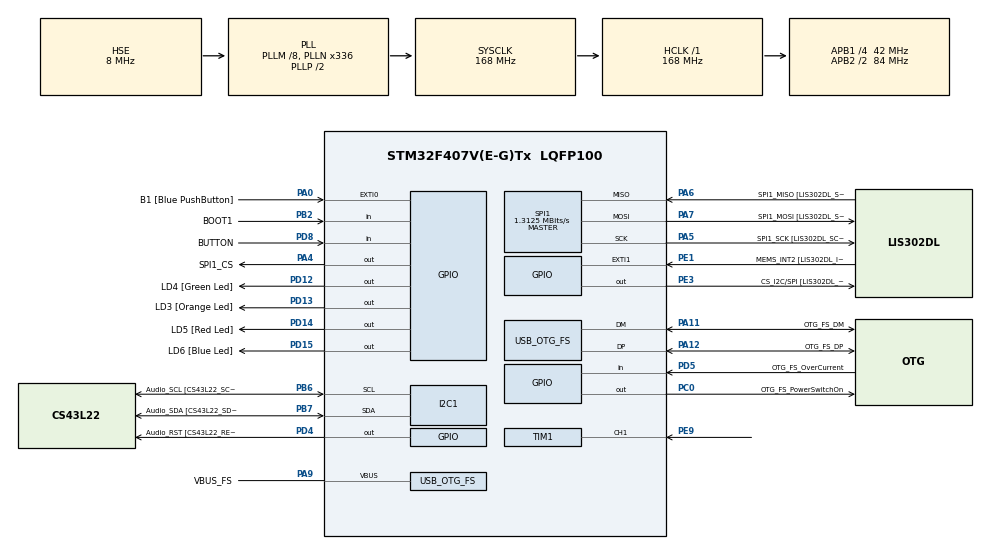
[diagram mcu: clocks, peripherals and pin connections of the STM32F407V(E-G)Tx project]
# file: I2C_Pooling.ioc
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Mcu.Family=STM32F4
Mcu.Name=STM32F407V(E-G)Tx
Mcu.Package=LQFP100
NVIC.OTG_FS_IRQn=true\:0\:0\:false\:false\:true\:true\:true\:true
NVIC.PriorityGroup=NVIC_PRIORITYGROUP_0
PA0-WKUP.GPIO_Label=B1 [Blue PushButton]
PA0-WKUP.GPIO_ModeDefaultEXTI=GPIO_MODE_EVT_RISING
PA0-WKUP.GPIO_PuPd=GPIO_NOPULL
PA0-WKUP.Signal=GPXTI0
PA10.GPIO_Label=OTG_FS_ID
PA10.GPIO_Mode=GPIO_MODE_AF_PP
PA10.GPIO_PuPd=GPIO_NOPULL
PA10.GPIO_Speed=GPIO_SPEED_FREQ_LOW
PA10.Signal=USB_OTG_FS_ID
PA11.GPIO_Label=OTG_FS_DM
PA11.GPIO_Mode=GPIO_MODE_AF_PP
PA11.GPIO_PuPd=GPIO_NOPULL
PA11.GPIO_Speed=GPIO_SPEED_FREQ_LOW
PA11.Mode=Host_Only
PA11.Signal=USB_OTG_FS_DM
PA12.GPIO_Label=OTG_FS_DP
PA12.GPIO_Mode=GPIO_MODE_AF_PP
PA12.GPIO_PuPd=GPIO_NOPULL
PA12.GPIO_Speed=GPIO_SPEED_FREQ_LOW
PA12.Mode=Host_Only
PA12.Signal=USB_OTG_FS_DP
PA13.GPIO_Label=SWDIO
PA13.Mode=Serial_Wire
PA13.Signal=SYS_JTMS-SWDIO
PA14.GPIO_Label=SWCLK
PA14.Mode=Serial_Wire
PA14.Signal=SYS_JTCK-SWCLK
PA4.GPIO_Label=SPI1_CS
PA4.Signal=GPIO_Output
PA5.GPIO_Label=SPI1_SCK [LIS302DL_SCL/SPC]
PA5.GPIO_Mode=GPIO_MODE_AF_PP
PA5.GPIO_PuPd=GPIO_NOPULL
PA5.GPIO_Speed=GPIO_SPEED_FREQ_LOW
PA5.Mode=Full_Duplex_Master
PA5.Signal=SPI1_SCK
PA6.GPIO_Label=SPI1_MISO [LIS302DL_SDO]
PA6.GPIO_Mode=GPIO_MODE_AF_PP
PA6.GPIO_PuPd=GPIO_NOPULL
PA6.GPIO_Speed=GPIO_SPEED_FREQ_LOW
PA6.Mode=Full_Duplex_Master
PA6.Signal=SPI1_MISO
PA7.GPIO_Label=SPI1_MOSI [LIS302DL_SDA/SDI/SDO]
PA7.GPIO_Mode=GPIO_MODE_AF_PP
PA7.GPIO_PuPd=GPIO_NOPULL
PA7.GPIO_Speed=GPIO_SPEED_FREQ_LOW
PA7.Mode=Full_Duplex_Master
PA7.Signal=SPI1_MOSI
PA9.GPIO_Label=VBUS_FS
PA9.GPIO_Mode=GPIO_MODE_INPUT
PA9.GPIO_PuPd=GPIO_NOPULL
PA9.Mode=Activate_VBUS
PA9.Signal=USB_OTG_FS_VBUS
PB10.GPIO_Label=CLK_IN [MP45DT02_CLK]
PB10.GPIO_Mode=GPIO_MODE_AF_PP
PB10.GPIO_PuPd=GPIO_NOPULL
PB10.GPIO_Speed=GPIO_SPEED_FREQ_LOW
PB10.Signal=I2S2_CK
PB2.GPIO_Label=BOOT1
PB2.GPIO_Mode=GPIO_MODE_INPUT
PB2.GPIO_PuPd=GPIO_NOPULL
PB2.Signal=GPIO_Input
PB3.GPIO_Label=SWO
PB3.Signal=SYS_JTDO-SWO
PB6.GPIO_Label=Audio_SCL [CS43L22_SCL]
PB6.GPIO_Mode=GPIO_MODE_AF_OD
PB6.GPIO_Pu=GPIO_PULLUP
PB6.GPIO_PuPd=GPIO_NOPULL
PB6.GPIO_Speed=GPIO_SPEED_FREQ_LOW
PB6.Mode=I2C
PB6.Signal=I2C1_SCL
PB7.GPIO_Label=Audio_SDA [CS43L22_SDA]
PB7.GPIO_Mode=GPIO_MODE_AF_OD
PB7.GPIO_Pu=GPIO_PULLUP
PB7.GPIO_Speed=GPIO_SPEED_FREQ_LOW
PB7.Mode=I2C
PB7.Signal=I2C1_SDA
PC0.GPIO_Label=OTG_FS_PowerSwitchOn
PC0.GPIO_PuPd=GPIO_NOPULL
PC0.GPIO_Speed=GPIO_SPEED_FREQ_LOW
PC0.PinState=GPIO_PIN_SET
PC0.Signal=GPIO_Output
PC10.GPIO_Label=I2S3_SCK [CS43L22_SCLK]
PC10.GPIO_Mode=GPIO_MODE_AF_PP
PC10.GPIO_PuPd=GPIO_NOPULL
PC10.GPIO_Speed=GPIO_SPEED_FREQ_LOW
PC10.Signal=I2S3_CK
PC12.GPIO_Label=I2S3_SD [CS43L22_SDIN]
PC12.GPIO_Mode=GPIO_MODE_AF_PP
PC12.GPIO_PuPd=GPIO_NOPULL
PC12.GPIO_Speed=GPIO_SPEED_FREQ_LOW
PC12.Signal=I2S3_SD
PC14-OSC32_IN.GPIO_Label=PC14-OSC32_IN
PC14-OSC32_IN.Mode=LSE-External-Oscillator
PC14-OSC32_IN.Signal=RCC_OSC32_IN
PC15-OSC32_OUT.GPIO_Label=PC15-OSC32_OUT
PC15-OSC32_OUT.Mode=LSE-External-Oscillator
PC15-OSC32_OUT.Signal=RCC_OSC32_OUT
PC3.GPIO_Label=PDM_OUT [MP45DT02_DOUT]
PC3.GPIO_Mode=GPIO_MODE_AF_PP
PC3.GPIO_PuPd=GPIO_NOPULL
PC3.GPIO_Speed=GPIO_SPEED_FREQ_LOW
PC3.Signal=I2S2_SD
PC7.GPIO_Label=I2S3_MCK [CS43L22_MCLK]
PC7.GPIO_Mode=GPIO_MODE_AF_PP
PC7.GPIO_PuPd=GPIO_NOPULL
PC7.GPIO_Speed=GPIO_SPEED_FREQ_LOW
PC7.Signal=I2S3_MCK
PD12.GPIO_Label=LD4 [Green Led]
PD12.GPIO_PuPd=GPIO_NOPULL
PD12.GPIO_Speed=GPIO_SPEED_FREQ_LOW
PD12.Signal=GPIO_Output
PD13.GPIO_Label=LD3 [Orange Led]
PD13.GPIO_PuPd=GPIO_NOPULL
PD13.GPIO_Speed=GPIO_SPEED_FREQ_LOW
PD13.Signal=GPIO_Output
PD14.GPIO_Label=LD5 [Red Led]
PD14.GPIO_PuPd=GPIO_NOPULL
PD14.GPIO_Speed=GPIO_SPEED_FREQ_LOW
PD14.Signal=GPIO_Output
PD15.GPIO_Label=LD6 [Blue Led]
PD15.GPIO_PuPd=GPIO_NOPULL
PD15.GPIO_Speed=GPIO_SPEED_FREQ_LOW
PD15.Signal=GPIO_Output
PD4.GPIO_Label=Audio_RST [CS43L22_RESET]
PD4.GPIO_PuPd=GPIO_NOPULL
PD4.GPIO_Speed=GPIO_SPEED_FREQ_LOW
PD4.Signal=GPIO_Output
PD5.GPIO_Label=OTG_FS_OverCurrent
PD5.GPIO_Mode=GPIO_MODE_INPUT
PD5.GPIO_PuPd=GPIO_NOPULL
PD5.Signal=GPIO_Input
PD8.GPIO_Label=BUTTON
PD8.GPIO_PuPd=GPIO_PULLDOWN
PD8.Signal=GPIO_Input
PE1.GPIO_Label=MEMS_INT2 [LIS302DL_INT2]
PE1.GPIO_ModeDefaultEXTI=GPIO_MODE_EVT_RISING
PE1.GPIO_PuPd=GPIO_NOPULL
PE1.Signal=GPXTI1
PE3.GPIO_Label=CS_I2C/SPI [LIS302DL_CS_I2C/SPI]
PE3.GPIO_PuPd=GPIO_NOPULL
PE3.GPIO_Speed=GPIO_SPEED_FREQ_LOW
PE3.Signal=GPIO_Output
PE9.Signal=S_TIM1_CH1
PH0-OSC_IN.GPIO_Label=PH0-OSC_IN
PH0-OSC_IN.Mode=HSE-External-Oscillator
PH0-OSC_IN.Signal=RCC_OSC_IN
PH1-OSC_OUT.GPIO_Label=PH1-OSC_OUT
PH1-OSC_OUT.Mode=HSE-External-Oscillator
PH1-OSC_OUT.Signal=RCC_OSC_OUT
ProjectManager.HeapSize=0x200
ProjectManager.StackSize=0x400
ProjectManager.TargetToolchain=STM32CubeIDE
RCC.48MHZClocksFreq_Value=48000000
RCC.AHBFreq_Value=168000000
RCC.APB1CLKDivider=RCC_HCLK_DIV4
RCC.APB1Freq_Value=42000000
RCC.APB1TimFreq_Value=84000000
RCC.APB2CLKDivider=RCC_HCLK_DIV2
RCC.APB2Freq_Value=84000000
RCC.APB2TimFreq_Value=168000000
RCC.CortexFreq_Value=168000000
RCC.HCLKFreq_Value=168000000
RCC.HSE_VALUE=8000000
RCC.HSI_VALUE=16000000
RCC.PLLM=8
RCC.PLLN=336
RCC.PLLQ=7
RCC.SYSCLKFreq_VALUE=168000000
RCC.SYSCLKSource=RCC_SYSCLKSOURCE_PLLCLK
RCC.VCOOutputFreq_Value=336000000
SH.S_TIM1_CH1.0=TIM1_CH1,Input_Capture1_from_TI1
SPI1.BaudRatePrescaler=SPI_BAUDRATEPRESCALER_64
SPI1.BaudRatePrescaler-Full_Duplex_Master=SPI_BAUDRATEPRESCALER_2
SPI1.CalculateBaudRate=1.3125 MBits/s
SPI1.CalculateBaudRate-Full_Duplex_Master=42.0 MBits/s
SPI1.Direction=SPI_DIRECTION_2LINES
SPI1.Mode=SPI_MODE_MASTER
SPI1.Mode-Full_Duplex_Master=SPI_MODE_MASTER
SPI1.VirtualType=VM_MASTER
TIM1.Channel-Input_Capture1_from_TI1=TIM_CHANNEL_1
USB_HOST.BSP.number=1
USB_HOST.USBH_HandleTypeDef-CDC_FS=hUsbHostFS
USB_HOST.VirtualModeFS=Cdc
USB_HOST0.BSP.STBoard=false
USB_HOST0.BSP.api=Unknown
USB_HOST0.BSP.instance=PC0
USB_HOST0.BSP.ip=GPIO
USB_HOST0.BSP.mode=Output
USB_HOST0.BSP.name=Drive_VBUS_FS
USB_HOST0.BSP.solution=PC0
USB_OTG_FS.VirtualMode=Host_Only
USB_OTG_FS.phy_itface=HCD_PHY_EMBEDDED
VP_USB_HOST_VS_USB_HOST_CDC_FS.Mode=CDC_FS
board=STM32F407G-DISC1

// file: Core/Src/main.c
/* USER CODE BEGIN Header */
/**
  ******************************************************************************
  * @file           : main.c
  * @brief          : Main program body
  ******************************************************************************
  * @attention
  *
  * Copyright (c) 2025 STMicroelectronics.
  * All rights reserved.
  *
  * This software is licensed under terms that can be found in the LICENSE file
  * in the root directory of this software component.
  * If no LICENSE file comes with this software, it is provided AS-IS.
  *
  ******************************************************************************
  */
/* USER CODE END Header */
#include "main.h"
#include "usb_host.h"

/* USER CODE BEGIN Includes */
#include "DS3231.h"
#include "MAX7219.h"
/* USER CODE END Includes */

I2C_HandleTypeDef hi2c1;

SPI_HandleTypeDef hspi1;

TIM_HandleTypeDef htim1;

/* USER CODE BEGIN PV */
DS3231_Time_t currentTime;
uint8_t gCounter;

/* USER CODE END PV */

void SystemClock_Config(void);
static void MX_GPIO_Init(void);
static void MX_I2C1_Init(void);
static void MX_SPI1_Init(void);
static void MX_TIM1_Init(void);
void MX_USB_HOST_Process(void);

int main(void)
{

  /* MCU Configuration--------------------------------------------------------*/

  /* Reset of all peripherals, Initializes the Flash interface and the Systick. */
  HAL_Init();

  /* Configure the system clock */
  SystemClock_Config();

  /* Initialize all configured peripherals */
  MX_GPIO_Init();
  MX_I2C1_Init();
  MX_SPI1_Init();
  MX_USB_HOST_Init();
  MX_TIM1_Init();
  /* USER CODE BEGIN 2 */
  HAL_GPIO_WritePin(GPIOD, GPIO_PIN_12, GPIO_PIN_RESET);
  HAL_GPIO_WritePin(GPIOD, GPIO_PIN_14, GPIO_PIN_RESET);

  if(HAL_I2C_IsDeviceReady(&hi2c1, DS3231_ADDR_HAL, 3, 1000) == HAL_OK) {
	  HAL_GPIO_TogglePin(GPIOD, GPIO_PIN_12);
  } else {
	  HAL_GPIO_TogglePin(GPIOD, GPIO_PIN_14);
  }
  /*
  currentTime.seconds = 0;
  currentTime.minutes = 7;
  currentTime.hours = 11;
  currentTime.month = 05;
  currentTime.date = 20;
  currentTime.year = 25;

  writeBCDRegister(&hi2c1, DS3231_SECONDS, currentTime.seconds);
  writeBCDRegister(&hi2c1, DS3231_MINUTES, currentTime.minutes);
  writeBCDRegister(&hi2c1, DS3231_HOURS, currentTime.hours);
  writeBCDRegister(&hi2c1, DS3231_CEN_MONTH, currentTime.month);
  writeBCDRegister(&hi2c1, DS3231_DATE, currentTime.date);
  writeBCDRegister(&hi2c1, DS3231_DEC_YEAR, currentTime.year);
  */

  spiWriteRegister(&hspi1, SPI1_CS_GPIO_Port, SPI1_CS_Pin, DISPLAY_TEST, 0x01);
  HAL_Delay(1000);
  spiWriteRegister(&hspi1, SPI1_CS_GPIO_Port, SPI1_CS_Pin, DISPLAY_TEST, 0x00);

  spiWriteRegister(&hspi1, SPI1_CS_GPIO_Port, SPI1_CS_Pin, DECODE_MODE, 0x00);
  spiWriteRegister(&hspi1, SPI1_CS_GPIO_Port, SPI1_CS_Pin, INTENSITY, 0x01);
  spiWriteRegister(&hspi1, SPI1_CS_GPIO_Port, SPI1_CS_Pin, SCAN_LIMIT, 0x0F);
  spiWriteRegister(&hspi1, SPI1_CS_GPIO_Port, SPI1_CS_Pin, SHUTDOWN, 0x01);

  /* USER CODE END 2 */

  /* Infinite loop */
  /* USER CODE BEGIN WHILE */
  while (1)
  {
	currentTime.seconds = readBCDRegister(&hi2c1, DS3231_SECONDS);

	for(int i = 1; i < 9; i++) {
		spiWriteRegister(&hspi1, SPI1_CS_GPIO_Port, SPI1_CS_Pin, i, NUMBERS[currentTime.seconds][i-1]);
	}

	HAL_Delay(100);
    /* USER CODE END WHILE */
    MX_USB_HOST_Process();

  }
}

void SystemClock_Config(void)
{
  RCC_OscInitTypeDef RCC_OscInitStruct = {0};
  RCC_ClkInitTypeDef RCC_ClkInitStruct = {0};

  /** Configure the main internal regulator output voltage
  */
  __HAL_RCC_PWR_CLK_ENABLE();
  __HAL_PWR_VOLTAGESCALING_CONFIG(PWR_REGULATOR_VOLTAGE_SCALE1);

  /** Initializes the RCC Oscillators according to the specified parameters
  * in the RCC_OscInitTypeDef structure.
  */
  RCC_OscInitStruct.OscillatorType = RCC_OSCILLATORTYPE_HSE;
  RCC_OscInitStruct.HSEState = RCC_HSE_ON;
  RCC_OscInitStruct.PLL.PLLState = RCC_PLL_ON;
  RCC_OscInitStruct.PLL.PLLSource = RCC_PLLSOURCE_HSE;
  RCC_OscInitStruct.PLL.PLLM = 8;
  RCC_OscInitStruct.PLL.PLLN = 336;
  RCC_OscInitStruct.PLL.PLLP = RCC_PLLP_DIV2;
  RCC_OscInitStruct.PLL.PLLQ = 7;
  if (HAL_RCC_OscConfig(&RCC_OscInitStruct) != HAL_OK)
  {
    Error_Handler();
  }

  /** Initializes the CPU, AHB and APB buses clocks
  */
  RCC_ClkInitStruct.ClockType = RCC_CLOCKTYPE_HCLK|RCC_CLOCKTYPE_SYSCLK
                              |RCC_CLOCKTYPE_PCLK1|RCC_CLOCKTYPE_PCLK2;
  RCC_ClkInitStruct.SYSCLKSource = RCC_SYSCLKSOURCE_PLLCLK;
  RCC_ClkInitStruct.AHBCLKDivider = RCC_SYSCLK_DIV1;
  RCC_ClkInitStruct.APB1CLKDivider = RCC_HCLK_DIV4;
  RCC_ClkInitStruct.APB2CLKDivider = RCC_HCLK_DIV2;

  if (HAL_RCC_ClockConfig(&RCC_ClkInitStruct, FLASH_LATENCY_5) != HAL_OK)
  {
    Error_Handler();
  }
}

static void MX_I2C1_Init(void)
{

  hi2c1.Instance = I2C1;
  hi2c1.Init.ClockSpeed = 100000;
  hi2c1.Init.DutyCycle = I2C_DUTYCYCLE_2;
  hi2c1.Init.OwnAddress1 = 0;
  hi2c1.Init.AddressingMode = I2C_ADDRESSINGMODE_7BIT;
  hi2c1.Init.DualAddressMode = I2C_DUALADDRESS_DISABLE;
  hi2c1.Init.OwnAddress2 = 0;
  hi2c1.Init.GeneralCallMode = I2C_GENERALCALL_DISABLE;
  hi2c1.Init.NoStretchMode = I2C_NOSTRETCH_DISABLE;
  if (HAL_I2C_Init(&hi2c1) != HAL_OK)
  {
    Error_Handler();
  }

}

static void MX_SPI1_Init(void)
{

  /* SPI1 parameter configuration*/
  hspi1.Instance = SPI1;
  hspi1.Init.Mode = SPI_MODE_MASTER;
  hspi1.Init.Direction = SPI_DIRECTION_2LINES;
  hspi1.Init.DataSize = SPI_DATASIZE_8BIT;
  hspi1.Init.CLKPolarity = SPI_POLARITY_LOW;
  hspi1.Init.CLKPhase = SPI_PHASE_1EDGE;
  hspi1.Init.NSS = SPI_NSS_SOFT;
  hspi1.Init.BaudRatePrescaler = SPI_BAUDRATEPRESCALER_64;
  hspi1.Init.FirstBit = SPI_FIRSTBIT_MSB;
  hspi1.Init.TIMode = SPI_TIMODE_DISABLE;
  hspi1.Init.CRCCalculation = SPI_CRCCALCULATION_DISABLE;
  hspi1.Init.CRCPolynomial = 10;
  if (HAL_SPI_Init(&hspi1) != HAL_OK)
  {
    Error_Handler();
  }

}

static void MX_TIM1_Init(void)
{

  TIM_MasterConfigTypeDef sMasterConfig = {0};
  TIM_IC_InitTypeDef sConfigIC = {0};

  htim1.Instance = TIM1;
  htim1.Init.Prescaler = 0;
  htim1.Init.CounterMode = TIM_COUNTERMODE_UP;
  htim1.Init.Period = 65535;
  htim1.Init.ClockDivision = TIM_CLOCKDIVISION_DIV1;
  htim1.Init.RepetitionCounter = 0;
  htim1.Init.AutoReloadPreload = TIM_AUTORELOAD_PRELOAD_DISABLE;
  if (HAL_TIM_IC_Init(&htim1) != HAL_OK)
  {
    Error_Handler();
  }
  sMasterConfig.MasterOutputTrigger = TIM_TRGO_RESET;
  sMasterConfig.MasterSlaveMode = TIM_MASTERSLAVEMODE_DISABLE;
  if (HAL_TIMEx_MasterConfigSynchronization(&htim1, &sMasterConfig) != HAL_OK)
  {
    Error_Handler();
  }
  sConfigIC.ICPolarity = TIM_INPUTCHANNELPOLARITY_RISING;
  sConfigIC.ICSelection = TIM_ICSELECTION_DIRECTTI;
  sConfigIC.ICPrescaler = TIM_ICPSC_DIV1;
  sConfigIC.ICFilter = 0;
  if (HAL_TIM_IC_ConfigChannel(&htim1, &sConfigIC, TIM_CHANNEL_1) != HAL_OK)
  {
    Error_Handler();
  }

}

static void MX_GPIO_Init(void)
{
  GPIO_InitTypeDef GPIO_InitStruct = {0};

  /* GPIO Ports Clock Enable */
  __HAL_RCC_GPIOE_CLK_ENABLE();
  __HAL_RCC_GPIOC_CLK_ENABLE();
  __HAL_RCC_GPIOH_CLK_ENABLE();
  __HAL_RCC_GPIOA_CLK_ENABLE();
  __HAL_RCC_GPIOB_CLK_ENABLE();
  __HAL_RCC_GPIOD_CLK_ENABLE();

  /*Configure GPIO pin Output Level */
  HAL_GPIO_WritePin(CS_I2C_SPI_GPIO_Port, CS_I2C_SPI_Pin, GPIO_PIN_RESET);

  /*Configure GPIO pin Output Level */
  HAL_GPIO_WritePin(OTG_FS_PowerSwitchOn_GPIO_Port, OTG_FS_PowerSwitchOn_Pin, GPIO_PIN_SET);

  /*Configure GPIO pin Output Level */
  HAL_GPIO_WritePin(SPI1_CS_GPIO_Port, SPI1_CS_Pin, GPIO_PIN_RESET);

  /*Configure GPIO pin Output Level */
  HAL_GPIO_WritePin(GPIOD, LD4_Pin|LD3_Pin|LD5_Pin|LD6_Pin
                          |Audio_RST_Pin, GPIO_PIN_RESET);

  /*Configure GPIO pin : CS_I2C_SPI_Pin */
  GPIO_InitStruct.Pin = CS_I2C_SPI_Pin;
  GPIO_InitStruct.Mode = GPIO_MODE_OUTPUT_PP;
  GPIO_InitStruct.Pull = GPIO_NOPULL;
  GPIO_InitStruct.Speed = GPIO_SPEED_FREQ_LOW;
  HAL_GPIO_Init(CS_I2C_SPI_GPIO_Port, &GPIO_InitStruct);

  /*Configure GPIO pin : OTG_FS_PowerSwitchOn_Pin */
  GPIO_InitStruct.Pin = OTG_FS_PowerSwitchOn_Pin;
  GPIO_InitStruct.Mode = GPIO_MODE_OUTPUT_PP;
  GPIO_InitStruct.Pull = GPIO_NOPULL;
  GPIO_InitStruct.Speed = GPIO_SPEED_FREQ_LOW;
  HAL_GPIO_Init(OTG_FS_PowerSwitchOn_GPIO_Port, &GPIO_InitStruct);

  /*Configure GPIO pin : PDM_OUT_Pin */
  GPIO_InitStruct.Pin = PDM_OUT_Pin;
  GPIO_InitStruct.Mode = GPIO_MODE_AF_PP;
  GPIO_InitStruct.Pull = GPIO_NOPULL;
  GPIO_InitStruct.Speed = GPIO_SPEED_FREQ_LOW;
  GPIO_InitStruct.Alternate = GPIO_AF5_SPI2;
  HAL_GPIO_Init(PDM_OUT_GPIO_Port, &GPIO_InitStruct);

  /*Configure GPIO pin : B1_Pin */
  GPIO_InitStruct.Pin = B1_Pin;
  GPIO_InitStruct.Mode = GPIO_MODE_EVT_RISING;
  GPIO_InitStruct.Pull = GPIO_NOPULL;
  HAL_GPIO_Init(B1_GPIO_Port, &GPIO_InitStruct);

  /*Configure GPIO pin : SPI1_CS_Pin */
  GPIO_InitStruct.Pin = SPI1_CS_Pin;
  GPIO_InitStruct.Mode = GPIO_MODE_OUTPUT_PP;
  GPIO_InitStruct.Pull = GPIO_NOPULL;
  GPIO_InitStruct.Speed = GPIO_SPEED_FREQ_LOW;
  HAL_GPIO_Init(SPI1_CS_GPIO_Port, &GPIO_InitStruct);

  /*Configure GPIO pin : BOOT1_Pin */
  GPIO_InitStruct.Pin = BOOT1_Pin;
  GPIO_InitStruct.Mode = GPIO_MODE_INPUT;
  GPIO_InitStruct.Pull = GPIO_NOPULL;
  HAL_GPIO_Init(BOOT1_GPIO_Port, &GPIO_InitStruct);

  /*Configure GPIO pin : CLK_IN_Pin */
  GPIO_InitStruct.Pin = CLK_IN_Pin;
  GPIO_InitStruct.Mode = GPIO_MODE_AF_PP;
  GPIO_InitStruct.Pull = GPIO_NOPULL;
  GPIO_InitStruct.Speed = GPIO_SPEED_FREQ_LOW;
  GPIO_InitStruct.Alternate = GPIO_AF5_SPI2;
  HAL_GPIO_Init(CLK_IN_GPIO_Port, &GPIO_InitStruct);

  /*Configure GPIO pin : BUTTON_Pin */
  GPIO_InitStruct.Pin = BUTTON_Pin;
  GPIO_InitStruct.Mode = GPIO_MODE_INPUT;
  GPIO_InitStruct.Pull = GPIO_PULLDOWN;
  HAL_GPIO_Init(BUTTON_GPIO_Port, &GPIO_InitStruct);

  /*Configure GPIO pins : LD4_Pin LD3_Pin LD5_Pin LD6_Pin
                           Audio_RST_Pin */
  GPIO_InitStruct.Pin = LD4_Pin|LD3_Pin|LD5_Pin|LD6_Pin
                          |Audio_RST_Pin;
  GPIO_InitStruct.Mode = GPIO_MODE_OUTPUT_PP;
  GPIO_InitStruct.Pull = GPIO_NOPULL;
  GPIO_InitStruct.Speed = GPIO_SPEED_FREQ_LOW;
  HAL_GPIO_Init(GPIOD, &GPIO_InitStruct);

  /*Configure GPIO pins : I2S3_MCK_Pin I2S3_SCK_Pin I2S3_SD_Pin */
  GPIO_InitStruct.Pin = I2S3_MCK_Pin|I2S3_SCK_Pin|I2S3_SD_Pin;
  GPIO_InitStruct.Mode = GPIO_MODE_AF_PP;
  GPIO_InitStruct.Pull = GPIO_NOPULL;
  GPIO_InitStruct.Speed = GPIO_SPEED_FREQ_LOW;
  GPIO_InitStruct.Alternate = GPIO_AF6_SPI3;
  HAL_GPIO_Init(GPIOC, &GPIO_InitStruct);

  /*Configure GPIO pin : OTG_FS_OverCurrent_Pin */
  GPIO_InitStruct.Pin = OTG_FS_OverCurrent_Pin;
  GPIO_InitStruct.Mode = GPIO_MODE_INPUT;
  GPIO_InitStruct.Pull = GPIO_NOPULL;
  HAL_GPIO_Init(OTG_FS_OverCurrent_GPIO_Port, &GPIO_InitStruct);

  /*Configure GPIO pin : MEMS_INT2_Pin */
  GPIO_InitStruct.Pin = MEMS_INT2_Pin;
  GPIO_InitStruct.Mode = GPIO_MODE_EVT_RISING;
  GPIO_InitStruct.Pull = GPIO_NOPULL;
  HAL_GPIO_Init(MEMS_INT2_GPIO_Port, &GPIO_InitStruct);

}

void Error_Handler(void)
{
  __disable_irq();
  while (1)
  {
  }
}
